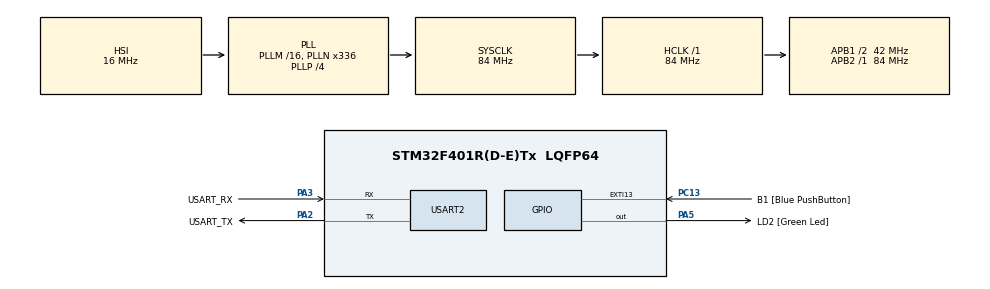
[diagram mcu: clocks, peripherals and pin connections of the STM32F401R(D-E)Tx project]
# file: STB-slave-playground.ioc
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Mcu.Family=STM32F4
Mcu.Name=STM32F401R(D-E)Tx
Mcu.Package=LQFP64
NVIC.PriorityGroup=NVIC_PRIORITYGROUP_0
NVIC.USART2_IRQn=true\:0\:0\:false\:false\:true\:true\:true\:true
PA13.GPIO_Label=TMS
PA13.Mode=Serial_Wire
PA13.Signal=SYS_JTMS-SWDIO
PA14.GPIO_Label=TCK
PA14.Mode=Serial_Wire
PA14.Signal=SYS_JTCK-SWCLK
PA2.GPIO_Label=USART_TX
PA2.GPIO_Mode=GPIO_MODE_AF_PP
PA2.GPIO_PuPd=GPIO_NOPULL
PA2.GPIO_Speed=GPIO_SPEED_FREQ_LOW
PA2.Mode=Asynchronous
PA2.Signal=USART2_TX
PA3.GPIO_Label=USART_RX
PA3.GPIO_Mode=GPIO_MODE_AF_PP
PA3.GPIO_PuPd=GPIO_NOPULL
PA3.GPIO_Speed=GPIO_SPEED_FREQ_LOW
PA3.Mode=Asynchronous
PA3.Signal=USART2_RX
PA5.GPIO_Label=LD2 [Green Led]
PA5.GPIO_Mode=GPIO_MODE_OUTPUT_PP
PA5.GPIO_PuPd=GPIO_NOPULL
PA5.GPIO_Speed=GPIO_SPEED_FREQ_LOW
PA5.Signal=GPIO_Output
PB3.GPIO_Label=SWO
PB3.Signal=SYS_JTDO-SWO
PC13-ANTI_TAMP.GPIO_Label=B1 [Blue PushButton]
PC13-ANTI_TAMP.GPIO_ModeDefaultEXTI=GPIO_MODE_IT_FALLING
PC13-ANTI_TAMP.GPIO_PuPd=GPIO_NOPULL
PC13-ANTI_TAMP.Signal=GPXTI13
PC14-OSC32_IN.Mode=LSE-External-Oscillator
PC14-OSC32_IN.Signal=RCC_OSC32_IN
PC15-OSC32_OUT.Mode=LSE-External-Oscillator
PC15-OSC32_OUT.Signal=RCC_OSC32_OUT
PH0\ -\ OSC_IN.Mode=HSE-External-Clock-Source
PH0\ -\ OSC_IN.Signal=RCC_OSC_IN
PH1\ -\ OSC_OUT.Mode=HSE-External-Clock-Source
PH1\ -\ OSC_OUT.Signal=RCC_OSC_OUT
ProjectManager.HeapSize=0x200
ProjectManager.StackSize=0x400
ProjectManager.TargetToolchain=Makefile
RCC.48MHZClocksFreq_Value=48000000
RCC.AHBFreq_Value=84000000
RCC.APB1CLKDivider=RCC_HCLK_DIV2
RCC.APB1Freq_Value=42000000
RCC.APB1TimFreq_Value=84000000
RCC.APB2Freq_Value=84000000
RCC.APB2TimFreq_Value=84000000
RCC.CortexFreq_Value=84000000
RCC.HCLKFreq_Value=84000000
RCC.HSE_VALUE=8000000
RCC.HSI_VALUE=16000000
RCC.PLLN=336
RCC.PLLP=RCC_PLLP_DIV4
RCC.PLLQ=7
RCC.SYSCLKFreq_VALUE=84000000
RCC.SYSCLKSource=RCC_SYSCLKSOURCE_PLLCLK
RCC.VCOOutputFreq_Value=336000000
USART2.VirtualMode=VM_ASYNC
board=NUCLEO-F401RE

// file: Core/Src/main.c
/* USER CODE BEGIN Header */
/**
 ******************************************************************************
 * @file           : main.c
 * @brief          : Main program body
 ******************************************************************************
 * @attention
 *
 * Copyright (c) 2022 STMicroelectronics.
 * All rights reserved.
 *
 * This software is licensed under terms that can be found in the LICENSE file
 * in the root directory of this software component.
 * If no LICENSE file comes with this software, it is provided AS-IS.
 *
 ******************************************************************************
 */
/* USER CODE END Header */
#include "main.h"
#include "usart.h"
#include "gpio.h"

/* USER CODE BEGIN Includes */
#include <stdbool.h>
#include <stdio.h>
#include <string.h>
/* USER CODE END Includes */

/* USER CODE BEGIN PV */
typedef struct
{
  bool is_word_complete;
  char cmd_received[100];
  char last_char_received;
  uint8_t char_index;
} uart_rx_handler;

uart_rx_handler gui_cmd_handler;
char rx_char;
/* USER CODE END PV */

void SystemClock_Config(void);

int main(void)
{
  /* USER CODE BEGIN 1 */
  gui_cmd_handler.is_word_complete = false;
  gui_cmd_handler.char_index = 0;
  memset(&gui_cmd_handler.cmd_received, 0x0, sizeof(gui_cmd_handler.cmd_received));
  /* USER CODE END 1 */

  /* MCU Configuration--------------------------------------------------------*/

  /* Reset of all peripherals, Initializes the Flash interface and the Systick. */
  HAL_Init();

  /* Configure the system clock */
  SystemClock_Config();

  /* Initialize all configured peripherals */
  MX_GPIO_Init();
  MX_USART2_UART_Init();
  /* USER CODE BEGIN 2 */
  struct
  {
    union
    {
      float float_n0;
      char char_n0[4];
    } n0;
    union
    {
      float float_n1;
      char char_n1[4];
    } n1;
    union
    {
      float float_n2;
      char char_n2[4];
    } n2;
    union
    {
      float float_n3;
      char char_n3[4];
    } n3;
  } rx_numbers;
  /* USER CODE END 2 */

  /* Infinite loop */
  /* USER CODE BEGIN WHILE */
  while (1)
  {
    HAL_UART_Receive_IT(&huart2, (uint8_t *)&rx_char, sizeof(rx_char));
    if (gui_cmd_handler.is_word_complete)
    {
      int i = 0;
      for (int index = 0; index < 16; index++)
      {

        if (i % 4 == 0)
        {
          i = 0;
        }
        if (index >= 0 && index <= 3)
        {
          rx_numbers.n0.char_n0[i] = gui_cmd_handler.cmd_received[index];
          i++;
        }
        if (index >= 4 && index <= 7)
        {
          rx_numbers.n1.char_n1[i] = gui_cmd_handler.cmd_received[index];
          i++;
        }
        if (index >= 8 && index <= 11)
        {
          rx_numbers.n2.char_n2[i] = gui_cmd_handler.cmd_received[index];
          i++;
        }
        if (index >= 12 && index <= 15)
        {
          rx_numbers.n3.char_n3[i] = gui_cmd_handler.cmd_received[index];
          i++;
        }
      }
      memset(&gui_cmd_handler.cmd_received, 0x0, sizeof(gui_cmd_handler.cmd_received));
      gui_cmd_handler.is_word_complete = false;
      int x = 4;
    }
    /* USER CODE END WHILE */

  }
}

void SystemClock_Config(void)
{
  RCC_OscInitTypeDef RCC_OscInitStruct = {0};
  RCC_ClkInitTypeDef RCC_ClkInitStruct = {0};

  /** Configure the main internal regulator output voltage
   */
  __HAL_RCC_PWR_CLK_ENABLE();
  __HAL_PWR_VOLTAGESCALING_CONFIG(PWR_REGULATOR_VOLTAGE_SCALE2);

  /** Initializes the RCC Oscillators according to the specified parameters
   * in the RCC_OscInitTypeDef structure.
   */
  RCC_OscInitStruct.OscillatorType = RCC_OSCILLATORTYPE_HSI;
  RCC_OscInitStruct.HSIState = RCC_HSI_ON;
  RCC_OscInitStruct.HSICalibrationValue = RCC_HSICALIBRATION_DEFAULT;
  RCC_OscInitStruct.PLL.PLLState = RCC_PLL_ON;
  RCC_OscInitStruct.PLL.PLLSource = RCC_PLLSOURCE_HSI;
  RCC_OscInitStruct.PLL.PLLM = 16;
  RCC_OscInitStruct.PLL.PLLN = 336;
  RCC_OscInitStruct.PLL.PLLP = RCC_PLLP_DIV4;
  RCC_OscInitStruct.PLL.PLLQ = 7;
  if (HAL_RCC_OscConfig(&RCC_OscInitStruct) != HAL_OK)
  {
    Error_Handler();
  }

  /** Initializes the CPU, AHB and APB buses clocks
   */
  RCC_ClkInitStruct.ClockType = RCC_CLOCKTYPE_HCLK | RCC_CLOCKTYPE_SYSCLK | RCC_CLOCKTYPE_PCLK1 | RCC_CLOCKTYPE_PCLK2;
  RCC_ClkInitStruct.SYSCLKSource = RCC_SYSCLKSOURCE_PLLCLK;
  RCC_ClkInitStruct.AHBCLKDivider = RCC_SYSCLK_DIV1;
  RCC_ClkInitStruct.APB1CLKDivider = RCC_HCLK_DIV2;
  RCC_ClkInitStruct.APB2CLKDivider = RCC_HCLK_DIV1;

  if (HAL_RCC_ClockConfig(&RCC_ClkInitStruct, FLASH_LATENCY_2) != HAL_OK)
  {
    Error_Handler();
  }
}

/* USER CODE BEGIN 4 */
void HAL_UART_RxCpltCallback(UART_HandleTypeDef *huart)
{
  // TODO: change into \n because minicom attach only \r (CR config)
  gui_cmd_handler.cmd_received[gui_cmd_handler.char_index] = rx_char;
  gui_cmd_handler.char_index++;
  if (strcmp(&rx_char, "\n") == 0)
  {
    HAL_UART_Transmit(&huart2, (uint8_t *)&gui_cmd_handler.cmd_received, sizeof(gui_cmd_handler.cmd_received), 100);
    gui_cmd_handler.char_index = 0;
    // memset(&gui_cmd_handler.cmd_received, 0x0, sizeof(gui_cmd_handler.cmd_received));
    gui_cmd_handler.is_word_complete = true;
  }
}
/* USER CODE END 4 */

void Error_Handler(void)
{
  __disable_irq();
  while (1)
  {
  }
}
